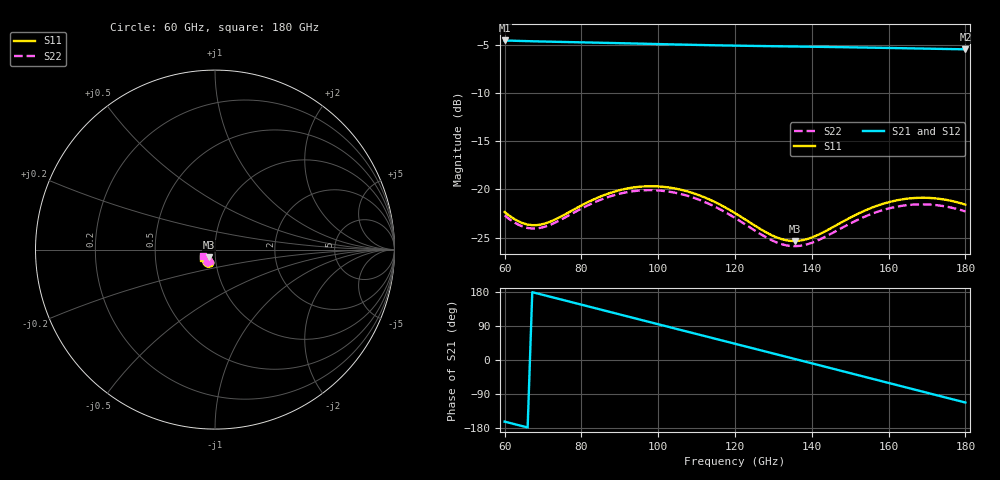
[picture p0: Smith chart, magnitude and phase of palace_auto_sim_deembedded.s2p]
! Created with skrf 1.11.0 (http://scikit-rf.org).
# GHz S DB R 50.0
!freq dBS11 angS11 dBS21 angS21 dBS12 angS12 dBS22 angS22
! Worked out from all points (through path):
!   101 points, 60 GHz to 180 GHz, reference 50 ohm
!   highest |S21| = -4.57 dB at 60 GHz (marker M1); lowest = -5.5 dB at 180 GHz (marker M2)
!   group delay of S21, straight-line fit = 7.17 ps
!   lowest |S11| = -25.4 dB at 135.6 GHz (marker M3), VSWR 1.11, Z = 46.5 - j3.91 ohm
!   |S11| at or under -10 dB: start of sweep to end of sweep
!   |S22| runs from -25.9 to -20.1 dB; largest |S21 - S12| = 9.8e-14
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60  -22.35 -119.9  -4.57 -162.7  -4.57 -162.7  -22.70 -120.1
64.8  -23.51 -112.7  -4.63 -174.9  -4.63 -174.9  -23.87 -112.8
68.4  -23.70 -105.9  -4.67 175.9  -4.67 175.9  -24.04 -106.0
74.4  -22.88 -98.2  -4.72 160.5  -4.72 160.5  -23.20 -98.5
80.4  -21.58 -97.8  -4.77 145.0  -4.77 145.0  -21.91 -98.5
86.4  -20.52 -102.5  -4.82 129.5  -4.82 129.5  -20.87 -103.7
91.2  -19.97 -108.4  -4.87 117.1  -4.87 117.1  -20.34 -109.9
96  -19.70 -115.1  -4.91 104.7  -4.91 104.7  -20.10 -117.0
100.8  -19.72 -122.2  -4.96 92.3  -4.96 92.3  -20.14 -124.3
105.6  -20.01 -129.0  -5.00 79.9  -5.00 79.9  -20.45 -131.4
110.4  -20.57 -135.2  -5.04 67.6  -5.04 67.6  -21.04 -137.9
120  -22.46 -143.1  -5.11 42.9  -5.11 42.9  -22.96 -146.3
128.4  -24.51 -140.4  -5.16 21.2  -5.16 21.2  -25.03 -144.1
135.6  -25.35 -129.2  -5.20 2.6  -5.20 2.6  -25.88 -133.5
140.4  -24.92 -121.5  -5.23 -9.8  -5.23 -9.8  -25.48 -126.2
150  -22.93 -116.8  -5.28 -34.6  -5.28 -34.6  -23.54 -122.1
156  -21.84 -120.1  -5.32 -50.2  -5.32 -50.2  -22.48 -125.8
160.8  -21.25 -124.6  -5.36 -62.6  -5.36 -62.6  -21.91 -130.6
165.6  -20.93 -130.0  -5.39 -75.0  -5.39 -75.0  -21.60 -136.2
170.4  -20.88 -135.7  -5.43 -87.4  -5.43 -87.4  -21.57 -142.1
175.2  -21.10 -141.2  -5.46 -99.8  -5.46 -99.8  -21.80 -147.9
180  -21.58 -146.0  -5.49 -112.2  -5.49 -112.2  -22.29 -152.9
